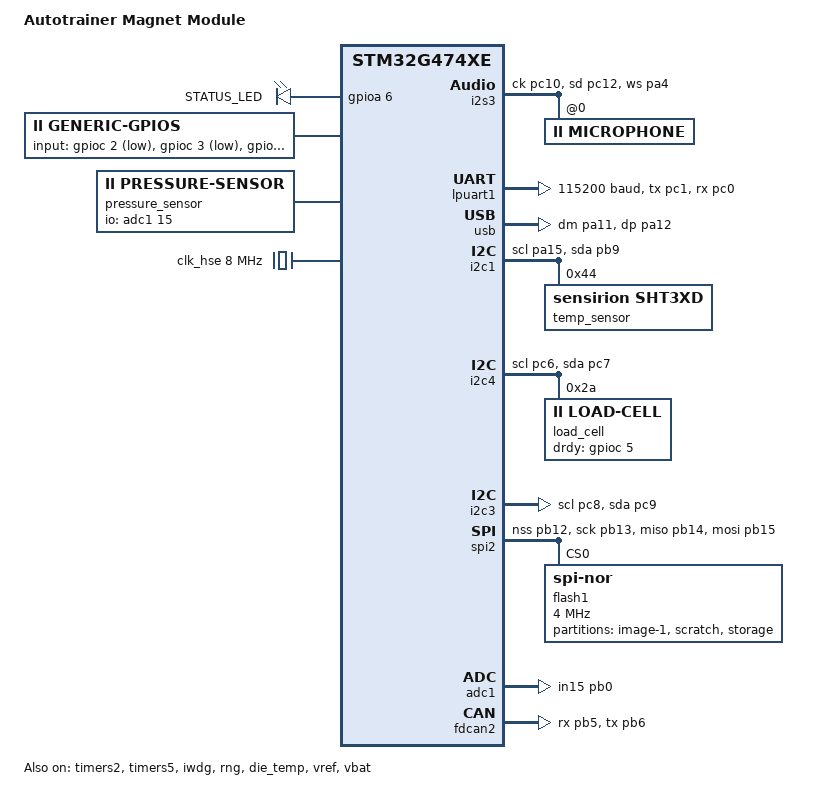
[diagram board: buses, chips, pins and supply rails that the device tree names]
/dts-v1/;
#include <st/g4/stm32g474Xe.dtsi>
#include <st/g4/stm32g474r(b-c-e)tx-pinctrl.dtsi>
#include <zephyr/dt-bindings/input/input-event-codes.h>

/ {
	model = "Autotrainer Magnet Module";
	compatible = "cerebellumlab,magnet-module";

	chosen {
		zephyr,console = &lpuart1;
		zephyr,shell-uart = &cdc_acm_uart0;
		zephyr,sram = &sram0;
		zephyr,flash = &flash0;
		zephyr,canbus = &fdcan2;
		zephyr,code-partition = &slot0_partition;
	};

	leds {
		compatible = "gpio-leds";
		status = "okay";

		status_led: led_1 {
			gpios = <&gpioa 6 GPIO_ACTIVE_HIGH>;
			label = "STATUS_LED";
			status = "okay";
		};
	};

	generic-gpios {
		status = "okay";
		compatible = "ll,generic-gpios";
		input-gpios = <&gpioc 2 GPIO_ACTIVE_LOW>,  // CAN_ID[0] / NodeNumber[0]
					  <&gpioc 3 GPIO_ACTIVE_LOW>,  // CAN_ID[1] / NodeNumber[1]
					  <&gpioa 0 GPIO_ACTIVE_HIGH>, // CAN_ID[2] / DeviceType[0]
					  <&gpioa 1 GPIO_ACTIVE_HIGH>, // CAN_ID[3] / DeviceType[1]
					  <&gpioc 14 GPIO_ACTIVE_LOW>, // CONT0
					  <&gpioc 15 GPIO_ACTIVE_LOW>; // CONT1
		input-gpio-names = "CAN_ID[0]",
						   "CAN_ID[1]",
						   "CAN_ID[2]",
						   "CAN_ID[3]",
						   "CONT0",
						   "CONT1";
		input-gpio-interrupt-enable = "DISABLE", "DISABLE", "DISABLE", "DISABLE", "BOTH", "BOTH";
	};

	pressure_sensor: pressure_sensor {
		compatible = "ll,pressure-sensor";
		status = "okay";
		io-channels = <&adc1 15>;
		sample-rate = <80>;
	};

	i2s3: i2s@40003c00 {		// Address per datasheet, pg 86
		compatible = "st,stm32-i2s";
		#address-cells = <1>;
		#size-cells = <0>;
		reg = <0x40003c00 0x400>; 	// Address and size per datasheet, pg 86
		clocks = <&rcc STM32_CLOCK_BUS_APB1 0x00008000>,
			 <&rcc STM32_SRC_PLL_Q I2S23_SEL(0)>;
		dmas = <&dmamux1 2 15 (STM32_DMA_PERIPH_TX | STM32_DMA_PRIORITY_HIGH)>,
			<&dmamux1 3 14 (STM32_DMA_PERIPH_RX | STM32_DMA_PRIORITY_HIGH)>;
		dma-names = "tx", "rx";
		interrupt-parent = <&nvic>;
		interrupts = <51 0>;
		pinctrl-0 = <&i2s3_ck_pc10 &i2s3_sd_pc12 &i2s3_ws_pa4>;
		pinctrl-names = "default";
		status = "okay";

		microphone: microphone@0 {
			compatible = "ll,microphone";
			status = "okay";
			reg = <0>;
			sampling-frequency = <192000>;
			channel-count = <2>;
			block-size = <128>;
		};
	};

	aliases {
		led0 = &status_led;
		mcuboot-led0 = &status_led;
		watchdog0 = &iwdg;
		i2s-mic = &i2s3;
	};
};

&clk_lsi {
	status = "okay";
};

&clk_hsi48 {
	status = "okay";
};

&clk_hse {
	clock-frequency = <DT_FREQ_M(8)>;
	status = "okay";
	hse-bypass;
};

&pll {
	div-m = <2>;
	mul-n = <85>;
	div-p = <2>;
	div-q = <2>;
	div-r = <2>;
	clocks = <&clk_hse>;
	status = "okay";
};

&rcc {
	clocks = <&pll>;
	clock-frequency = <DT_FREQ_M(170)>;
	ahb-prescaler = <1>;
	apb1-prescaler = <1>;
	apb2-prescaler = <1>;
};

&lpuart1 {
	pinctrl-0 = <&lpuart1_tx_pc1 &lpuart1_rx_pc0>;
	pinctrl-names = "default";
	current-speed = <115200>;
	status = "okay";
};

&dma1 {
	status = "okay";
};

&dmamux1 {
	status = "okay";
};

&timers2 {
	status = "okay";
	st,prescaler = <84>; // 170 MHz / (84 + 1) = 2 MHz

	servo0: servo0 {
		compatible = "ll,servo";
		status = "okay";

		pinctrl-0 = <&tim2_ch3_pa2>;
		pinctrl-names = "default";

		pwm-channel = <3>;

		dmas = <&dmamux1 0 60 STM32_DMA_PRIORITY_MEDIUM>;
		dma-names = "tx";
	};
};

&timers5 {
	status = "okay";
	st,prescaler = <84>; // 170 MHz / (84 + 1) = 2 MHz

	servo1: servo1 {
		compatible = "ll,servo";
		status = "okay";

		pinctrl-0 = <&tim5_ch4_pa3>;
		pinctrl-names = "default";

		pwm-channel = <4>;

		dmas = <&dmamux1 1 76 STM32_DMA_PRIORITY_MEDIUM>;
		dma-names = "tx";
	};
};

&usb {
	pinctrl-0 = <&usb_dm_pa11 &usb_dp_pa12>;
	pinctrl-names = "default";
	status = "okay";

	cdc_acm_uart0: cdc_acm_uart0 {
		compatible = "zephyr,cdc-acm-uart";
		status = "okay";
	};
};

&i2c1 {
	pinctrl-0 = <&i2c1_scl_pa15 &i2c1_sda_pb9>;
	pinctrl-names = "default";
	status = "okay";

	temp_sensor: temp_sensor@44 {
		compatible = "sensirion,sht3xd";
		reg = <0x44>;
		status = "okay";
	};
};

&i2c4 {
	pinctrl-0 = <&i2c4_scl_pc6 &i2c4_sda_pc7>;
	pinctrl-names = "default";
	status = "okay";

	load_cell: load_cell@2a {
		compatible = "ll,load-cell";
		reg = <0x2a>;
		adc-channel = <1>;
		ldo-voltage = "3V0";
		gain = <64>;
		conversion-rate = <80>;
		drdy-gpios = <&gpioc 5 GPIO_ACTIVE_HIGH>;
		status = "okay";
	};
};

&i2c3 {
	pinctrl-0 = <&i2c3_scl_pc8 &i2c3_sda_pc9>;
	pinctrl-names = "default";
	status = "okay";
};

&spi2 {
	pinctrl-0 = <&spi2_nss_pb12 &spi2_sck_pb13
				 &spi2_miso_pb14 &spi2_mosi_pb15>;
	pinctrl-names = "default";
	status = "okay";

	flash1: external_flash@0 {
		status = "okay";
		compatible = "jedec,spi-nor";
		reg = <0>;
		spi-max-frequency = <4000000>;
		size = <0x8000000>;
		has-dpd;
		t-enter-dpd = <3000>;
		t-exit-dpd = <30000>;
		jedec-id = [ef 40 15]; // For W25Q16JV

		partitions {
			compatible = "fixed-partitions";
			#address-cells = <1>;
			#size-cells = <1>;

			slot1_partition: partition@0 {
				label = "image-1";
				reg = <0x00000000 DT_SIZE_K(444)>;
			};

			scratch_partition: partition@80000 {
				label = "scratch";
				reg = <0x00080000 DT_SIZE_K(512)>;
			};

			/* Create 64Kb of storage for settings */

			storage_partition: partition@100000 {
				label = "storage";
				reg = <0x00100000 DT_SIZE_K(64)>;
			};
		};
	};
};

&flash0 {
	partitions {
		compatible = "fixed-partitions";
		#address-cells = <1>;
		#size-cells = <1>;

		boot_partition: partition@0 {
			label = "mcuboot";
			reg = <0x00000000 DT_SIZE_K(64)>;
		};

		slot0_partition: partition@10000 {
			label = "image-0";
			reg = <0x00010000 DT_SIZE_K(444)>;
		};
	};
};

&iwdg {
	status = "okay";
};

&rng {
	status = "okay";
};

&adc1 {
	pinctrl-0 = <&adc1_in15_pb0>;
	pinctrl-names = "default";
	st,adc-clock-source = <SYNC>;
	st,adc-prescaler = <4>;
	status = "okay";
};

&die_temp {
	status = "okay";
};

&fdcan2 {
	clocks = <&rcc STM32_CLOCK_BUS_APB1 0x02000000>,
			 <&rcc STM32_SRC_PCLK FDCAN_SEL(1)>;
	pinctrl-0 = <&fdcan2_rx_pb5 &fdcan2_tx_pb6>;
	pinctrl-names = "default";
	status = "okay";
};

&vref {
	status = "okay";
};

&vbat {
	status = "okay";
};
